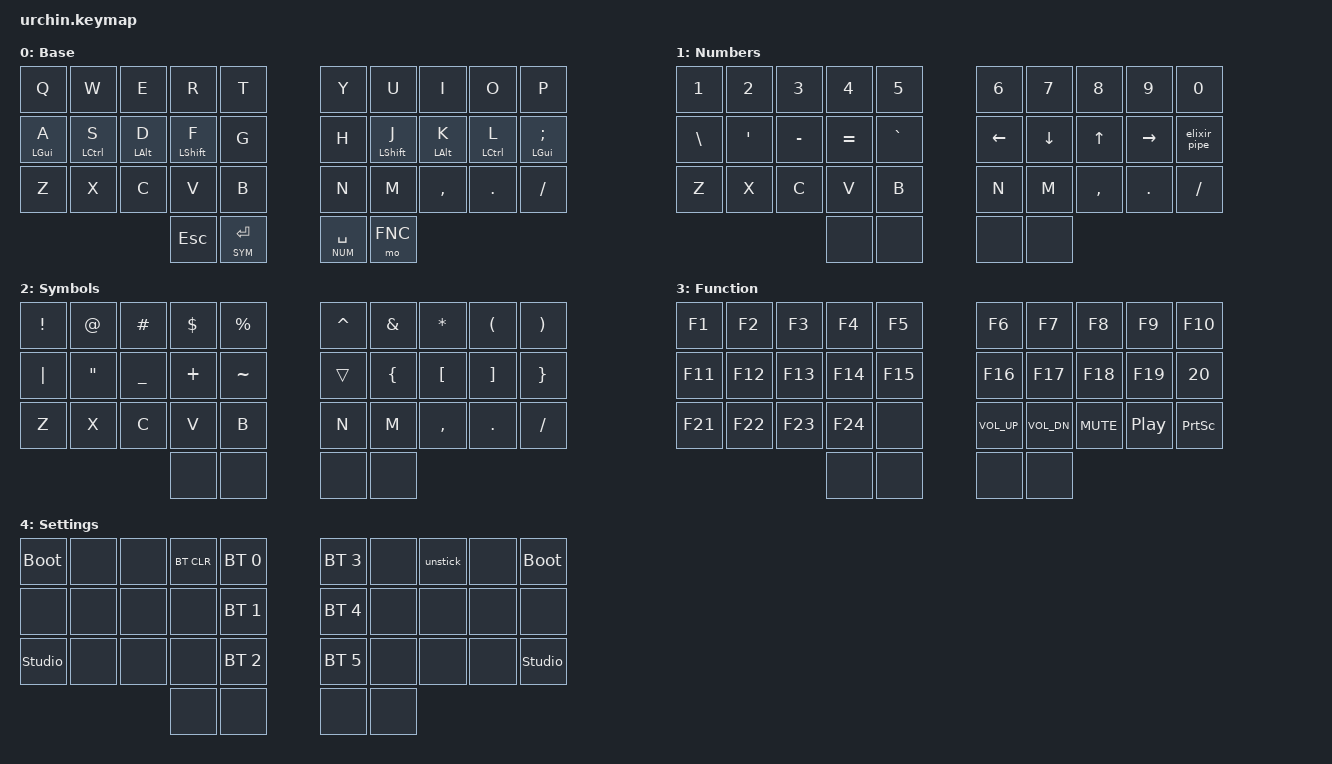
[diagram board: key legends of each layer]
/*
 * Copyright (c) 2020 duckyb
 *
 * SPDX-License-Identifier: MIT
 */

#include <behaviors.dtsi>
#include <dt-bindings/zmk/keys.h>
#include <dt-bindings/zmk/bt.h>
#include <dt-bindings/zmk/outputs.h>
#include "keymap_italian.h"

// Layer definitions
#define BASE 0
#define NUM 1
#define SYM 2
#define FNC 3
#define SETTINGS 4
// -----------------

&sk {
	// don't release mods on other mods presses
	ignore-modifiers;
};

&mt {
    tapping-term-ms = <600>;
};


/ {
	behaviors {
		// Enables holding the first mod-tap key
		// by performing a tap-release-hold sequence.
		// To use it: "&qt KEYCODE1 KEYCODE2"
		qt: quick_tap {
			compatible = "zmk,behavior-hold-tap";
			label = "QUICK_TAP";
			#binding-cells = <2>;
			flavor = "hold-preferred";
			tapping-term-ms = <600>;
			quick-tap-ms = <600>;
			bindings = <&kp>, <&kp>;
		};
	};

	macros {
		// sometimes my device thinks a modifier is being held down
		// pressing all modifiers fixes it.
		unstick: unstick {
			label = "ZM_unstick";
			compatible = "zmk,behavior-macro";
			#binding-cells = <0>;
			bindings = <&kp LSHIFT &kp RSHIFT &kp LCTRL &kp RCTRL &kp LALT &kp RALT &kp LGUI &kp RGUI>;
		};
		elixir_pipe: elixir_pipe {
			label = "elixir_pipe";
			compatible = "zmk,behavior-macro";
			#binding-cells = <0>;
			bindings = <&kp PIPE &kp GT>;
		};
	};

	combos {
		compatible = "zmk,combos";
		// Q + W
		combo_esc {
			timeout-ms = <200>;
			layers = <0>;
			key-positions = <0 1>;
			bindings = <&kp ESC>;
		};
		// W + E
		combo_tab {
			timeout-ms = <200>;
			layers = <0>;
			key-positions = <1 2>;
			bindings = <&kp TAB>;
		};
		// S + D
		combo_del {
			timeout-ms = <200>;
			layers = <0>;
			key-positions = <11 12>;
			bindings = <&kp DEL>;
		};
		// I + O
		combo_backspace {
			timeout-ms = <200>;
			layers = <0>;
			key-positions = <7 8>;
			bindings = <&kp BSPC>;
		};
		// K + L
		combo_enter {
			timeout-ms = <200>;
			layers = <0>;
			key-positions = <17 18>;
			bindings = <&kp RET>;
		};
		// outer thumbs
		combo_settings {
			timeout-ms = <200>;
			key-positions = <30 33>;
			bindings = <&mo SETTINGS>;
		};
	};

	keymap {
		compatible = "zmk,keymap";
		// Base alpha layer
		default_layer {
			label = "Base";
			bindings = <
			&kp Q 	   &kp W       &kp E      &kp R        &kp T           &kp Y &kp U         &kp I       &kp O       &kp P 
			&mt LGUI A &mt LCTRL S &mt LALT D &mt LSHIFT F &kp G           &kp H &mt LSHIFT J  &mt LALT K  &mt LCTRL L &mt LGUI SEMI
			&kp Z      &kp X       &kp C      &kp V        &kp B           &kp N &kp M         &kp COMMA   &kp DOT     &kp SLASH
				                          &kp ESC &lt SYM RET         &lt NUM SPACE &mo FNC
			>;
		};

		// Numbers and high frequency symbols
		num_layer {
			label = "Numbers";
			bindings = <
			&kp N1   &kp N2   &kp N3    &kp N4    &kp N5      	  &kp N6 &kp N7  &kp N8  &kp N9  &kp N0 
			&kp BSLH &kp APOS &kp MINUS &kp EQUAL &kp GRAVE           &kp LEFT &kp DOWN  &kp UP &kp RIGHT &elixir_pipe
			&kp Z &kp X &kp C &kp V &kp B           		  &kp N &kp M  &kp COMMA &kp DOT &kp SLASH
					&none &none                     	  &none &none
			>;
		};

		// Main modifiers and arrow keys
		Sym_layer {
			label = "Symbols";
			bindings = <
			&kp EXCL   &kp AT   &kp HASH    &kp DLLR    &kp PRCNT      	  &kp CARET &kp AMPS  &kp STAR  &kp LPAR  &kp RPAR 
			&kp PIPE &kp DQT &kp UNDERSCORE &kp PLUS &kp TILDE           &trans &kp LBRC  &kp LBKT &kp RBKT &kp RBRC
			&kp Z &kp X &kp C &kp V &kp B           		  &kp N &kp M  &kp COMMA &kp DOT &kp SLASH
					&none &none                     	  &none &none
			>;
		};

		// Function keys with modifiers
		fnc_layer {
			label = "Function";
			bindings = <
			&kp F1 &kp F2 &kp F3 &kp F4 &kp F5                  &kp F6 &kp F7 &kp F8 &kp F9 &kp F10 
			&kp F11 &kp F12 &kp F13 &kp F14 &kp F15    	    &kp F16 &kp F17 &kp F18 &kp F19 &kp 20
			&kp F21 &kp F22 &kp F23 &kp F24 &none		    &kp C_VOL_UP &kp C_VOL_DN &kp C_MUTE &kp C_PP &kp PRINTSCREEN 
						&none &none              &none &none  
			>;
		};

		// Used to change the keyboard's settings.
		settings_layer {
				label = "Settings";
				bindings = <
				&bootloader &none &none &bt BT_CLR &bt BT_SEL 0               &bt BT_SEL 3 &none &unstick &none &bootloader 
				&none &none &none &none      &bt BT_SEL 1 						  &bt BT_SEL 4 &none &none &none &none
				&studio_unlock &none &none &none      &bt BT_SEL 2               &bt BT_SEL 5 &none &none &none &studio_unlock
										&none &none                         &none &none 
				>;
		};
	};
};
